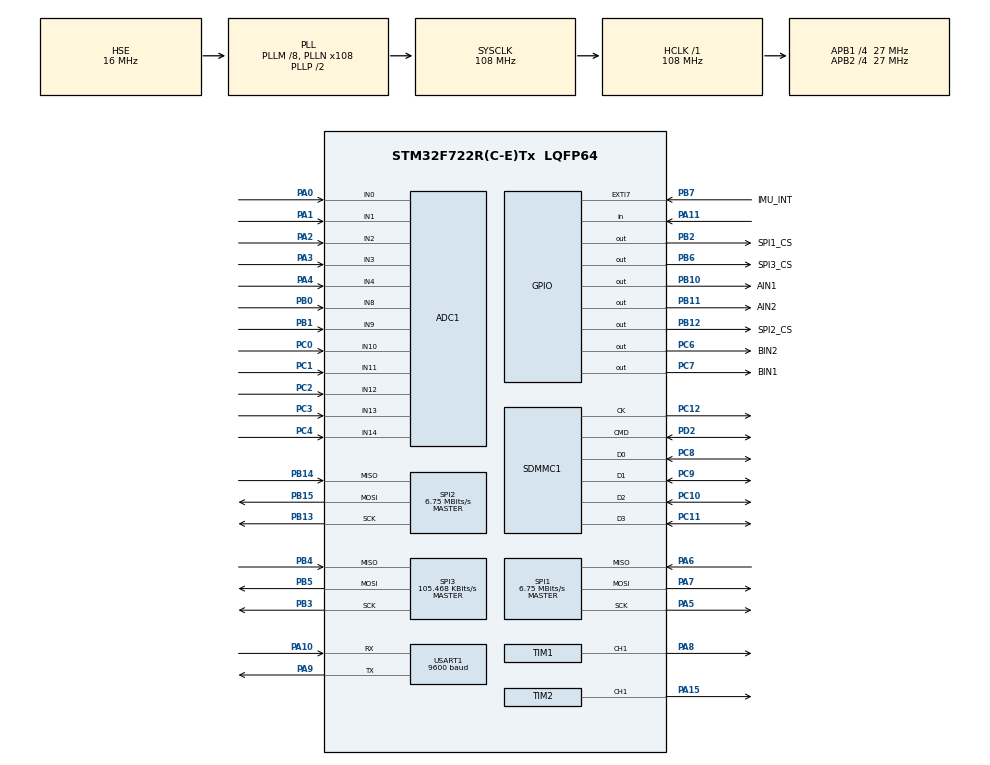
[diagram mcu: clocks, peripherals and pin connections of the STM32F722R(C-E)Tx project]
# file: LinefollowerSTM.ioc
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PH0-OSC_IN.Signal=RCC_OSC_IN
SPI3.Direction=SPI_DIRECTION_2LINES
SPI3.VirtualType=VM_MASTER
Dma.SDMMC1_RX.0.MemInc=DMA_MINC_ENABLE
SPI1.VirtualType=VM_MASTER
FATFS0.BSP.api=Unknown
SPI2.VirtualType=VM_MASTER
VP_FATFS_VS_SDIO.Mode=SDIO
ADC1.SamplingTime-6\#ChannelRegularConversion=ADC_SAMPLETIME_112CYCLES
PC12.Signal=SDMMC1_CK
PC6.GPIO_Label=BIN2
VP_RTC_VS_RTC_Activate.Mode=RTC_Enabled
PB6.GPIO_Label=SPI3_CS
PB13.Signal=SPI2_SCK
ADC1.Channel-8\#ChannelRegularConversion=ADC_CHANNEL_4
RCC.SYSCLKSource=RCC_SYSCLKSOURCE_PLLCLK
NVIC.SDMMC1_IRQn=true\:0\:0\:false\:false\:true\:true\:true
ADC1.Channel-5\#ChannelRegularConversion=ADC_CHANNEL_1
ADC1.Rank-11\#ChannelRegularConversion=12
SPI1.Direction=SPI_DIRECTION_2LINES
RCC.APB2TimFreq_Value=54000000
PB6.Signal=GPIO_Output
ADC1.Channel-2\#ChannelRegularConversion=ADC_CHANNEL_12
PC7.Signal=GPIO_Output
SPI1.CalculateBaudRate=6.75 MBits/s
PC3.Signal=ADCx_IN13
FATFS0.BSP.ip=GPIO
PB3.Mode=Full_Duplex_Master
PB2.Signal=GPIO_Output
ADC1.ScanConvMode=ADC_SCAN_ENABLE
FATFS0.BSP.i2caddr=0
PB12.GPIO_Label=SPI2_CS
Dma.ADC1.2.MemDataAlignment=DMA_MDATAALIGN_HALFWORD
TIM1.Channel-PWM\ Generation1\ CH1=TIM_CHANNEL_1
PB14.Mode=Full_Duplex_Master
SPI1.DataSize=SPI_DATASIZE_16BIT
SH.ADCx_IN8.0=ADC1_IN8,IN8
PC9.Mode=SD_4_bits_Wide_bus
SPI2.CalculateBaudRate=6.75 MBits/s
Dma.ADC1.2.Direction=DMA_PERIPH_TO_MEMORY
PA8.Signal=S_TIM1_CH1
TIM4.Period=12
ADC1.SamplingTime-0\#ChannelRegularConversion=ADC_SAMPLETIME_112CYCLES
Mcu.Package=LQFP64
RCC.SDMMCClockSelection=RCC_SDMMC1CLKSOURCE_CLK48
TIM2.Prescaler=530
PB1.Signal=ADCx_IN9
SPI2.Mode=SPI_MODE_MASTER
SPI3.Mode=SPI_MODE_MASTER
SH.ADCx_IN14.0=ADC1_IN14,IN14
FATFS0.BSP.solution=PA11
PB6.GPIO_FM6=__NULL
Dma.SDMMC1_RX.0.PeriphBurst=DMA_PBURST_INC4
PA10.Signal=USART1_RX
PC11.Mode=SD_4_bits_Wide_bus
SH.ADCx_IN9.0=ADC1_IN9,IN9
RCC.APB2CLKDivider=RCC_HCLK_DIV4
RCC.APB1TimFreq_Value=54000000
Dma.SDMMC1_TX.1.MemInc=DMA_MINC_ENABLE
TIM1.Period=999
PB13.Mode=Full_Duplex_Master
Dma.SDMMC1_RX.0.Mode=DMA_PFCTRL
NVIC.USART1_IRQn=true\:0\:0\:false\:false\:true\:true\:true
ADC1.Rank-4\#ChannelRegularConversion=5
Dma.ADC1.2.Mode=DMA_CIRCULAR
PA5.Mode=Full_Duplex_Master
Dma.SDMMC1_TX.1.Instance=DMA2_Stream6
ADC1.Channel-10\#ChannelRegularConversion=ADC_CHANNEL_8
FATFS0.BSP.STBoard=false
ADC1.Rank-0\#ChannelRegularConversion=1
Dma.SDMMC1_RX.0.PeriphInc=DMA_PINC_DISABLE
FATFS0.BSP.mode=Input
PB6.GPIO_PuPd=GPIO_PULLUP
PC6.Signal=GPIO_Output
PC2.Signal=ADCx_IN12
PB11.GPIO_Label=AIN2
SPI1.CLKPhase=SPI_PHASE_2EDGE
Dma.SDMMC1_RX.0.PeriphDataAlignment=DMA_PDATAALIGN_WORD
PC0.Signal=ADCx_IN10
RCC.APB1CLKDivider=RCC_HCLK_DIV4
PA0-WKUP.Signal=ADCx_IN0
ADC1.Channel-7\#ChannelRegularConversion=ADC_CHANNEL_3
Dma.ADC1.2.MemInc=DMA_MINC_ENABLE
PA9.Signal=USART1_TX
PB4.GPIO_PuPd=GPIO_NOPULL
NVIC.DMA2_Stream6_IRQn=true\:0\:0\:false\:false\:true\:false\:true
PB10.Signal=GPIO_Output
PB14.Signal=SPI2_MISO
FATFS.BSP.number=1
PA5.Signal=SPI1_SCK
PC12.Mode=SD_4_bits_Wide_bus
NVIC.TIM3_IRQn=true\:0\:0\:false\:false\:true\:true\:true
SPI1.Mode=SPI_MODE_MASTER
Dma.SDMMC1_RX.0.Direction=DMA_PERIPH_TO_MEMORY
SH.ADCx_IN4.0=ADC1_IN4,IN4
Dma.SDMMC1_TX.1.FIFOMode=DMA_FIFOMODE_ENABLE
ADC1.SamplingTime-10\#ChannelRegularConversion=ADC_SAMPLETIME_112CYCLES
ADC1.DMAContinuousRequests=ENABLE
TIM2.Period=999
ADC1.Rank-9\#ChannelRegularConversion=10
PA13.Mode=Serial_Wire
Dma.ADC1.2.Instance=DMA2_Stream0
PC7.GPIO_Label=BIN1
PC8.Mode=SD_4_bits_Wide_bus
ADC1.SamplingTime-1\#ChannelRegularConversion=ADC_SAMPLETIME_112CYCLES
PA4.Signal=ADCx_IN4
PB5.Signal=SPI3_MOSI
ADC1.master=1
PB5.GPIO_PuPd=GPIO_NOPULL
PB6.PinState=GPIO_PIN_RESET
ADC1.Rank-1\#ChannelRegularConversion=2
Dma.SDMMC1_TX.1.PeriphDataAlignment=DMA_PDATAALIGN_WORD
PA11.Signal=GPIO_Input
SH.S_TIM2_CH1_ETR.0=TIM2_CH1,PWM Generation1 CH1
ProjectManager.HeapSize=0x400
Dma.ADC1.2.FIFOMode=DMA_FIFOMODE_DISABLE
ADC1.SamplingTime-5\#ChannelRegularConversion=ADC_SAMPLETIME_112CYCLES
VP_TIM4_VS_ClockSourceINT.Mode=Internal
NVIC.PriorityGroup=NVIC_PRIORITYGROUP_4
SPI2.DataSize=SPI_DATASIZE_16BIT
ADC1.SamplingTime-9\#ChannelRegularConversion=ADC_SAMPLETIME_112CYCLES
PD2.Signal=SDMMC1_CMD
PB6.GPIO_Speed=GPIO_SPEED_FREQ_LOW
PB0.Signal=ADCx_IN8
ADC1.Rank-5\#ChannelRegularConversion=6
PC1.Signal=ADCx_IN11
FATFS0.BSP.name=Detect_SDIO
Mcu.Family=STM32F7
PA6.Mode=Full_Duplex_Master
RCC.CortexFreq_Value=108000000
ADC1.ContinuousConvMode=ENABLE
USART1.BaudRate=9600
SH.ADCx_IN2.0=ADC1_IN2,IN2
SPI3.NSSPMode=SPI_NSS_PULSE_DISABLE
PC10.Signal=SDMMC1_D2
Dma.SDMMC1_RX.0.Instance=DMA2_Stream3
Dma.SDMMC1_RX.0.FIFOMode=DMA_FIFOMODE_ENABLE
Dma.SDMMC1_RX.0.Priority=DMA_PRIORITY_LOW
PB11.Signal=GPIO_Output
PB15.Signal=SPI2_MOSI
ProjectManager.StackSize=0x800
Dma.SDMMC1_TX.1.FIFOThreshold=DMA_FIFO_THRESHOLD_FULL
TIM1.Prescaler=530
SPI3.CLKPolarity=SPI_POLARITY_LOW
ADC1.Channel-3\#ChannelRegularConversion=ADC_CHANNEL_13
RCC.HCLKFreq_Value=108000000
SH.ADCx_IN3.0=ADC1_IN3,IN3
TIM3.Period=66
NVIC.DMA2_Stream0_IRQn=true\:0\:0\:false\:false\:true\:false\:true
RCC.AHBFreq_Value=108000000
SPI2.BaudRatePrescaler=SPI_BAUDRATEPRESCALER_4
PH0-OSC_IN.Mode=HSE-External-Oscillator
SPI3.DataSize=SPI_DATASIZE_8BIT
ADC1.Channel-0\#ChannelRegularConversion=ADC_CHANNEL_10
RCC.HSE_VALUE=16000000
ADC1.SamplingTime-4\#ChannelRegularConversion=ADC_SAMPLETIME_112CYCLES
ADC1.Channel-6\#ChannelRegularConversion=ADC_CHANNEL_2
PA6.GPIO_PuPd=GPIO_NOPULL
ADC1.Rank-2\#ChannelRegularConversion=3
PB4.Mode=Full_Duplex_Master
PA14.Mode=Serial_Wire
TIM3.Prescaler=99
PB5.Mode=Full_Duplex_Master
PB7.Signal=GPXTI7
SH.ADCx_IN0.0=ADC1_IN0,IN0
TIM2.Channel-PWM\ Generation1\ CH1=TIM_CHANNEL_1
PB7.GPIO_Label=IMU_INT
PH1-OSC_OUT.Mode=HSE-External-Oscillator
ADC1.SamplingTime-11\#ChannelRegularConversion=ADC_SAMPLETIME_112CYCLES
PA6.Signal=SPI1_MISO
ADC1.Channel-11\#ChannelRegularConversion=ADC_CHANNEL_9
PA15.Signal=S_TIM2_CH1_ETR
SPI2.CLKPhase=SPI_PHASE_2EDGE
SH.ADCx_IN1.0=ADC1_IN1,IN1
Dma.Request2=ADC1
Dma.Request1=SDMMC1_TX
SPI2.Direction=SPI_DIRECTION_2LINES
ADC1.Rank-6\#ChannelRegularConversion=7
Dma.Request0=SDMMC1_RX
SPI1.BaudRatePrescaler=SPI_BAUDRATEPRESCALER_4
ADC1.SamplingTime-8\#ChannelRegularConversion=ADC_SAMPLETIME_112CYCLES
Dma.SDMMC1_RX.0.MemDataAlignment=DMA_MDATAALIGN_WORD
VP_TIM3_VS_ClockSourceINT.Mode=Internal
PB4.Signal=SPI3_MISO
Dma.SDMMC1_TX.1.Direction=DMA_MEMORY_TO_PERIPH
PA3.Signal=ADCx_IN3
RCC.PLLSourceVirtual=RCC_PLLSOURCE_HSE
SH.ADCx_IN13.0=ADC1_IN13,IN13
PA7.Mode=Full_Duplex_Master
ADC1.Channel-4\#ChannelRegularConversion=ADC_CHANNEL_0
PA10.Mode=Asynchronous
ADC1.Rank-10\#ChannelRegularConversion=11
ADC1.Rank-8\#ChannelRegularConversion=9
Dma.ADC1.2.PeriphDataAlignment=DMA_PDATAALIGN_HALFWORD
PC11.Signal=SDMMC1_D3
PC8.Signal=SDMMC1_D0
PC4.Signal=ADCx_IN14
PC10.Mode=SD_4_bits_Wide_bus
ADC1.SamplingTime-2\#ChannelRegularConversion=ADC_SAMPLETIME_112CYCLES
FATFS0.BSP.instance=PA11
USART1.VirtualMode-Asynchronous=VM_ASYNC
PA13.Signal=SYS_JTMS-SWDIO
PA9.Mode=Asynchronous
SH.ADCx_IN12.0=ADC1_IN12,IN12
Dma.SDMMC1_TX.1.PeriphBurst=DMA_PBURST_INC4
SH.S_TIM1_CH1.0=TIM1_CH1,PWM Generation1 CH1
ProjectManager.TargetToolchain=STM32CubeIDE
PB10.GPIO_Label=AIN1
ADC1.Channel-1\#ChannelRegularConversion=ADC_CHANNEL_11
RCC.USBFreq_Value=18000000
NVIC.DMA2_Stream3_IRQn=true\:0\:0\:false\:false\:true\:false\:true
TIM4.Prescaler=9999
RCC.LSE_VALUE=32768
PA1.Signal=ADCx_IN1
PD2.Mode=SD_4_bits_Wide_bus
board=custom
SPI3.CLKPhase=SPI_PHASE_1EDGE
RCC.VCOOutputFreq_Value=216000000
PB15.Mode=Full_Duplex_Master
FATFS.USE_DMA_CODE_SD=1
RCC.APB2Freq_Value=27000000
SPI3.CalculateBaudRate=105.468 KBits/s
SH.ADCx_IN11.0=ADC1_IN11,IN11
SPI3.BaudRatePrescaler=SPI_BAUDRATEPRESCALER_256
PH1-OSC_OUT.Signal=RCC_OSC_OUT
Dma.SDMMC1_RX.0.MemBurst=DMA_MBURST_INC4
Dma.SDMMC1_TX.1.Priority=DMA_PRIORITY_LOW
ADC1.NbrOfConversion=12
Mcu.Name=STM32F722R(C-E)Tx
PA2.Signal=ADCx_IN2
ADC1.Channel-9\#ChannelRegularConversion=ADC_CHANNEL_14
PB3.Signal=SPI3_SCK
RCC.SYSCLKFreq_VALUE=108000000
Dma.ADC1.2.Priority=DMA_PRIORITY_HIGH
Dma.SDMMC1_TX.1.MemBurst=DMA_MBURST_INC4
ADC1.Rank-3\#ChannelRegularConversion=4
ADC1.SamplingTime-3\#ChannelRegularConversion=ADC_SAMPLETIME_112CYCLES
Dma.ADC1.2.PeriphInc=DMA_PINC_DISABLE
Dma.SDMMC1_RX.0.FIFOThreshold=DMA_FIFO_THRESHOLD_FULL
NVIC.EXTI9_5_IRQn=true\:0\:0\:false\:false\:true\:true\:true
PA14.Signal=SYS_JTCK-SWCLK
PB2.GPIO_Label=SPI1_CS
SH.ADCx_IN10.0=ADC1_IN10,IN10
Dma.SDMMC1_TX.1.MemDataAlignment=DMA_MDATAALIGN_WORD
RCC.HSI_VALUE=16000000
ADC1.Rank-7\#ChannelRegularConversion=8
RCC.PLLQ=12
ADC1.NbrOfConversionFlag=1
RCC.PLLM=8
RCC.PLLN=108
PC9.Signal=SDMMC1_D1
ADC1.SamplingTime-7\#ChannelRegularConversion=ADC_SAMPLETIME_112CYCLES
NVIC.TIM4_IRQn=true\:0\:0\:false\:false\:true\:true\:true
RCC.APB1Freq_Value=27000000
Dma.SDMMC1_TX.1.Mode=DMA_PFCTRL
ADC1.ClockPrescaler=ADC_CLOCK_SYNC_PCLK_DIV8
Dma.SDMMC1_TX.1.PeriphInc=DMA_PINC_DISABLE
PB12.Signal=GPIO_Output
PA7.Signal=SPI1_MOSI

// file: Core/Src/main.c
/* USER CODE BEGIN Header */
/**
  ******************************************************************************
  * @file           : main.c
  * @brief          : Main program body
  ******************************************************************************
  * @attention
  *
  * <h2><center>&copy; Copyright (c) 2021 STMicroelectronics.
  * All rights reserved.</center></h2>
  *
  * This software component is licensed by ST under BSD 3-Clause license,
  * the "License"; You may not use this file except in compliance with the
  * License. You may obtain a copy of the License at:
  *                        opensource.org/licenses/BSD-3-Clause
  *
  ******************************************************************************
  */
/* USER CODE END Header */
#include "main.h"
#include "fatfs.h"

/* USER CODE BEGIN Includes */
#include "motors.h"
#include "uart.h"
#include "encoders.h"
#include "PID_regulators.h"
#include "imu.h"

/* USER CODE END Includes */

ADC_HandleTypeDef hadc1;
DMA_HandleTypeDef hdma_adc1;

RTC_HandleTypeDef hrtc;

SD_HandleTypeDef hsd1;
DMA_HandleTypeDef hdma_sdmmc1_rx;
DMA_HandleTypeDef hdma_sdmmc1_tx;

//SPI_HandleTypeDef hspi1;
//SPI_HandleTypeDef hspi2;
//SPI_HandleTypeDef hspi3;

//TIM_HandleTypeDef htim1;
//TIM_HandleTypeDef htim2;
//TIM_HandleTypeDef htim3;
//TIM_HandleTypeDef htim4;

//UART_HandleTypeDef huart1;

/* USER CODE BEGIN PV */
uint8_t rx1[]={0,0};
uint8_t tx1[]={0x70,0xFF};		//0xEB

/* USER CODE END PV */

void SystemClock_Config(void);
static void MX_GPIO_Init(void);
static void MX_DMA_Init(void);
static void MX_SPI1_Init(void);
static void MX_SPI2_Init(void);
static void MX_USART1_UART_Init(void);
static void MX_ADC1_Init(void);
static void MX_SPI3_Init(void);
static void MX_TIM1_Init(void);
static void MX_TIM2_Init(void);
static void MX_RTC_Init(void);
static void MX_SDMMC1_SD_Init(void);
static void MX_TIM3_Init(void);
static void MX_TIM4_Init(void);

int main(void)
{
  /* USER CODE BEGIN 1 */

	enc_langle=0;
	enc_langle_old=0;
	enc_ldiff=0;
	enc_ldiff_raw=0;
	enc_rangle=0;
	enc_rangle_old=0;
	enc_rdiff=0;
	enc_rdiff_raw=0;

	pid_k_coefficient=2.0;
	pid_Td_coefficient=1.0;
	pid_basic_velocity=250;
	pid_u_track_lost=200;
	pid_target_l=0;
	pid_target_r=0;

	pid_motor_k=0.2;
	pid_motor_Ti=950;
	pid_motor_Td=0.0;

	pid_alpha=0.001;			//0.005
	pid_beta=0.000000001;		//0.000001

	spi_error=0;
	imu_acc_data[0]=0.0;
	imu_acc_data[1]=0.0;
	imu_acc_data[2]=0.0;

	temp01=0.0;
	prev_ui_l=0.0;
	pid_lmotor_e=0.0;
	test_imu=0;
	test2_imu=0.0;
	test3_imu=0;
	test_counter=0;

  /* USER CODE END 1 */

  /* MCU Configuration--------------------------------------------------------*/

  /* Reset of all peripherals, Initializes the Flash interface and the Systick. */
  HAL_Init();

  /* Configure the system clock */
  SystemClock_Config();

  /* Initialize all configured peripherals */
  MX_GPIO_Init();
  MX_DMA_Init();
  MX_SPI1_Init();
  MX_SPI2_Init();
  MX_USART1_UART_Init();
  MX_ADC1_Init();
  MX_SPI3_Init();
  MX_TIM1_Init();
  MX_TIM2_Init();
  MX_RTC_Init();
  MX_SDMMC1_SD_Init();
  MX_FATFS_Init();
  MX_TIM3_Init();
  MX_TIM4_Init();
  /* USER CODE BEGIN 2 */
  HAL_TIM_PWM_Start(&htim1, TIM_CHANNEL_1);
  HAL_TIM_PWM_Start(&htim2, TIM_CHANNEL_1);
  //HAL_TIM_Base_Start_IT(&htim3);
  //HAL_TIM_Base_Start_IT(&htim4);
  HAL_UART_Receive_IT(&huart1, uart_received, 6);
  HAL_ADC_Start_DMA(&hadc1, ktir_array, KTIR_NUM);

  ENCWriting(&hspi1, SPI1_CS_GPIO_Port, SPI1_CS_Pin, 0x0018, 0x0005);

/*
  HAL_GPIO_WritePin(SPI3_CS_GPIO_Port, SPI3_CS_Pin, GPIO_PIN_RESET);

  	  if(HAL_SPI_Transmit(&hspi3, tx1, 2, HAL_MAX_DELAY)!=HAL_OK)
  		  spi_error=1;
  	  //if(HAL_SPI_Receive(&hspi3, rx1, 1, HAL_MAX_DELAY)!=HAL_OK)
  	  	  //spi_error=1;

  //if(HAL_SPI_TransmitReceive(&hspi3, &tx1, &rx1, 1, HAL_MAX_DELAY)!=HAL_OK)
	  //spi_error=1;

  HAL_GPIO_WritePin(SPI3_CS_GPIO_Port, SPI3_CS_Pin, GPIO_PIN_SET);
*/

  IMUConfigureModule();

  tx1[0]=0x3B|0x80;
  rx1[0]=0;
  rx1[1]=0;
  HAL_Delay(1000);
  HAL_NVIC_EnableIRQ(EXTI9_5_IRQn);

  /* USER CODE END 2 */

  /* Infinite loop */
  while (1)
  {

    /* USER CODE BEGIN 3 */
	//MOTORS_SetVelocity(0, 0);
	  /*enc_langle = (ENCReading(&hspi1, SPI1_CS_GPIO_Port, SPI1_CS_Pin, 0xFFFF)) << 2;
	  enc_rangle = (ENCReading(&hspi2, SPI2_CS_GPIO_Port, SPI2_CS_Pin, 0xFFFF)) << 2;

	  enc_ldiff = (enc_langle - enc_langle_old);
	  enc_langle_old = enc_langle;
	  enc_rdiff = (enc_rangle - enc_rangle_old);
	  enc_rangle_old = enc_rangle;*/

	  //temp01 = KTIR_ControlError();

	  //HAL_GPIO_WritePin(SPI3_CS_GPIO_Port, SPI3_CS_Pin, GPIO_PIN_RESET);

	  /*
	  if(HAL_SPI_Transmit(&hspi3, &tx, 1, HAL_MAX_DELAY)!=HAL_OK)
		  spi_error=1;
	  if(HAL_SPI_Receive(&hspi3, &rx, 1, HAL_MAX_DELAY)!=HAL_OK)
	  	  spi_error=1;
	  */

	  /*
	  if(HAL_SPI_Transmit(&hspi3, tx1, 1, HAL_MAX_DELAY)!=HAL_OK)
		  spi_error=1;
	  if(HAL_SPI_Receive(&hspi3, rx1, 1, HAL_MAX_DELAY)!=HAL_OK)
		  spi_error=1;
		  */

	  //test_imu=IMURead2BVar(0x3F);
	  test2_imu=IMUReadAcc(3);
	  IMUReadAllAccData();

	  //uart_size=sprintf(uart_data, "X axis: %4.4f \n\rY axis: %4.4f \n\rZ axis: %4.4f \n\r \n\r", imu_acc_data[0], imu_acc_data[1], imu_acc_data[2]);
	  //HAL_UART_Transmit_IT(&huart1, uart_data, uart_size);

	  //HAL_GPIO_WritePin(SPI3_CS_GPIO_Port, SPI3_CS_Pin, GPIO_PIN_SET);

	  HAL_Delay(1000);
	  uart_size=sprintf(uart_data, "Counter: %6d \n\r", test_counter);
	  HAL_UART_Transmit_IT(&huart1, uart_data, uart_size);
	  test_counter=0;

  }
  /* USER CODE END 3 */
}

void SystemClock_Config(void)
{
  RCC_OscInitTypeDef RCC_OscInitStruct = {0};
  RCC_ClkInitTypeDef RCC_ClkInitStruct = {0};
  RCC_PeriphCLKInitTypeDef PeriphClkInitStruct = {0};

  /** Configure the main internal regulator output voltage
  */
  __HAL_RCC_PWR_CLK_ENABLE();
  __HAL_PWR_VOLTAGESCALING_CONFIG(PWR_REGULATOR_VOLTAGE_SCALE3);
  /** Initializes the RCC Oscillators according to the specified parameters
  * in the RCC_OscInitTypeDef structure.
  */
  RCC_OscInitStruct.OscillatorType = RCC_OSCILLATORTYPE_LSI|RCC_OSCILLATORTYPE_HSE;
  RCC_OscInitStruct.HSEState = RCC_HSE_ON;
  RCC_OscInitStruct.LSIState = RCC_LSI_ON;
  RCC_OscInitStruct.PLL.PLLState = RCC_PLL_ON;
  RCC_OscInitStruct.PLL.PLLSource = RCC_PLLSOURCE_HSE;
  RCC_OscInitStruct.PLL.PLLM = 8;
  RCC_OscInitStruct.PLL.PLLN = 108;
  RCC_OscInitStruct.PLL.PLLP = RCC_PLLP_DIV2;
  RCC_OscInitStruct.PLL.PLLQ = 12;
  if (HAL_RCC_OscConfig(&RCC_OscInitStruct) != HAL_OK)
  {
    Error_Handler();
  }
  /** Initializes the CPU, AHB and APB buses clocks
  */
  RCC_ClkInitStruct.ClockType = RCC_CLOCKTYPE_HCLK|RCC_CLOCKTYPE_SYSCLK
                              |RCC_CLOCKTYPE_PCLK1|RCC_CLOCKTYPE_PCLK2;
  RCC_ClkInitStruct.SYSCLKSource = RCC_SYSCLKSOURCE_PLLCLK;
  RCC_ClkInitStruct.AHBCLKDivider = RCC_SYSCLK_DIV1;
  RCC_ClkInitStruct.APB1CLKDivider = RCC_HCLK_DIV4;
  RCC_ClkInitStruct.APB2CLKDivider = RCC_HCLK_DIV4;

  if (HAL_RCC_ClockConfig(&RCC_ClkInitStruct, FLASH_LATENCY_3) != HAL_OK)
  {
    Error_Handler();
  }
  PeriphClkInitStruct.PeriphClockSelection = RCC_PERIPHCLK_RTC|RCC_PERIPHCLK_USART1
                              |RCC_PERIPHCLK_SDMMC1|RCC_PERIPHCLK_CLK48;
  PeriphClkInitStruct.RTCClockSelection = RCC_RTCCLKSOURCE_LSI;
  PeriphClkInitStruct.Usart1ClockSelection = RCC_USART1CLKSOURCE_PCLK2;
  PeriphClkInitStruct.Clk48ClockSelection = RCC_CLK48SOURCE_PLL;
  PeriphClkInitStruct.Sdmmc1ClockSelection = RCC_SDMMC1CLKSOURCE_CLK48;
  if (HAL_RCCEx_PeriphCLKConfig(&PeriphClkInitStruct) != HAL_OK)
  {
    Error_Handler();
  }
}

static void MX_ADC1_Init(void)
{

  ADC_ChannelConfTypeDef sConfig = {0};

  /** Configure the global features of the ADC (Clock, Resolution, Data Alignment and number of conversion)
  */
  hadc1.Instance = ADC1;
  hadc1.Init.ClockPrescaler = ADC_CLOCK_SYNC_PCLK_DIV8;
  hadc1.Init.Resolution = ADC_RESOLUTION_12B;
  hadc1.Init.ScanConvMode = ADC_SCAN_ENABLE;
  hadc1.Init.ContinuousConvMode = ENABLE;
  hadc1.Init.DiscontinuousConvMode = DISABLE;
  hadc1.Init.ExternalTrigConvEdge = ADC_EXTERNALTRIGCONVEDGE_NONE;
  hadc1.Init.ExternalTrigConv = ADC_SOFTWARE_START;
  hadc1.Init.DataAlign = ADC_DATAALIGN_RIGHT;
  hadc1.Init.NbrOfConversion = 12;
  hadc1.Init.DMAContinuousRequests = ENABLE;
  hadc1.Init.EOCSelection = ADC_EOC_SINGLE_CONV;
  if (HAL_ADC_Init(&hadc1) != HAL_OK)
  {
    Error_Handler();
  }
  /** Configure for the selected ADC regular channel its corresponding rank in the sequencer and its sample time.
  */
  sConfig.Channel = ADC_CHANNEL_10;
  sConfig.Rank = ADC_REGULAR_RANK_1;
  sConfig.SamplingTime = ADC_SAMPLETIME_112CYCLES;
  if (HAL_ADC_ConfigChannel(&hadc1, &sConfig) != HAL_OK)
  {
    Error_Handler();
  }
  /** Configure for the selected ADC regular channel its corresponding rank in the sequencer and its sample time.
  */
  sConfig.Channel = ADC_CHANNEL_11;
  sConfig.Rank = ADC_REGULAR_RANK_2;
  if (HAL_ADC_ConfigChannel(&hadc1, &sConfig) != HAL_OK)
  {
    Error_Handler();
  }
  /** Configure for the selected ADC regular channel its corresponding rank in the sequencer and its sample time.
  */
  sConfig.Channel = ADC_CHANNEL_12;
  sConfig.Rank = ADC_REGULAR_RANK_3;
  if (HAL_ADC_ConfigChannel(&hadc1, &sConfig) != HAL_OK)
  {
    Error_Handler();
  }
  /** Configure for the selected ADC regular channel its corresponding rank in the sequencer and its sample time.
  */
  sConfig.Channel = ADC_CHANNEL_13;
  sConfig.Rank = ADC_REGULAR_RANK_4;
  if (HAL_ADC_ConfigChannel(&hadc1, &sConfig) != HAL_OK)
  {
    Error_Handler();
  }
  /** Configure for the selected ADC regular channel its corresponding rank in the sequencer and its sample time.
  */
  sConfig.Channel = ADC_CHANNEL_0;
  sConfig.Rank = ADC_REGULAR_RANK_5;
  if (HAL_ADC_ConfigChannel(&hadc1, &sConfig) != HAL_OK)
  {
    Error_Handler();
  }
  /** Configure for the selected ADC regular channel its corresponding rank in the sequencer and its sample time.
  */
  sConfig.Channel = ADC_CHANNEL_1;
  sConfig.Rank = ADC_REGULAR_RANK_6;
  if (HAL_ADC_ConfigChannel(&hadc1, &sConfig) != HAL_OK)
  {
    Error_Handler();
  }
  /** Configure for the selected ADC regular channel its corresponding rank in the sequencer and its sample time.
  */
  sConfig.Channel = ADC_CHANNEL_2;
  sConfig.Rank = ADC_REGULAR_RANK_7;
  if (HAL_ADC_ConfigChannel(&hadc1, &sConfig) != HAL_OK)
  {
    Error_Handler();
  }
  /** Configure for the selected ADC regular channel its corresponding rank in the sequencer and its sample time.
  */
  sConfig.Channel = ADC_CHANNEL_3;
  sConfig.Rank = ADC_REGULAR_RANK_8;
  if (HAL_ADC_ConfigChannel(&hadc1, &sConfig) != HAL_OK)
  {
    Error_Handler();
  }
  /** Configure for the selected ADC regular channel its corresponding rank in the sequencer and its sample time.
  */
  sConfig.Channel = ADC_CHANNEL_4;
  sConfig.Rank = ADC_REGULAR_RANK_9;
  if (HAL_ADC_ConfigChannel(&hadc1, &sConfig) != HAL_OK)
  {
    Error_Handler();
  }
  /** Configure for the selected ADC regular channel its corresponding rank in the sequencer and its sample time.
  */
  sConfig.Channel = ADC_CHANNEL_14;
  sConfig.Rank = ADC_REGULAR_RANK_10;
  if (HAL_ADC_ConfigChannel(&hadc1, &sConfig) != HAL_OK)
  {
    Error_Handler();
  }
  /** Configure for the selected ADC regular channel its corresponding rank in the sequencer and its sample time.
  */
  sConfig.Channel = ADC_CHANNEL_8;
  sConfig.Rank = ADC_REGULAR_RANK_11;
  if (HAL_ADC_ConfigChannel(&hadc1, &sConfig) != HAL_OK)
  {
    Error_Handler();
  }
  /** Configure for the selected ADC regular channel its corresponding rank in the sequencer and its sample time.
  */
  sConfig.Channel = ADC_CHANNEL_9;
  sConfig.Rank = ADC_REGULAR_RANK_12;
  if (HAL_ADC_ConfigChannel(&hadc1, &sConfig) != HAL_OK)
  {
    Error_Handler();
  }

}

static void MX_RTC_Init(void)
{

  /** Initialize RTC Only
  */
  hrtc.Instance = RTC;
  hrtc.Init.HourFormat = RTC_HOURFORMAT_24;
  hrtc.Init.AsynchPrediv = 127;
  hrtc.Init.SynchPrediv = 255;
  hrtc.Init.OutPut = RTC_OUTPUT_DISABLE;
  hrtc.Init.OutPutPolarity = RTC_OUTPUT_POLARITY_HIGH;
  hrtc.Init.OutPutType = RTC_OUTPUT_TYPE_OPENDRAIN;
  if (HAL_RTC_Init(&hrtc) != HAL_OK)
  {
    Error_Handler();
  }

}

static void MX_SDMMC1_SD_Init(void)
{

  hsd1.Instance = SDMMC1;
  hsd1.Init.ClockEdge = SDMMC_CLOCK_EDGE_RISING;
  hsd1.Init.ClockBypass = SDMMC_CLOCK_BYPASS_DISABLE;
  hsd1.Init.ClockPowerSave = SDMMC_CLOCK_POWER_SAVE_DISABLE;
  hsd1.Init.BusWide = SDMMC_BUS_WIDE_1B;
  hsd1.Init.HardwareFlowControl = SDMMC_HARDWARE_FLOW_CONTROL_DISABLE;
  hsd1.Init.ClockDiv = 0;

}

static void MX_SPI1_Init(void)
{

  /* SPI1 parameter configuration*/
  hspi1.Instance = SPI1;
  hspi1.Init.Mode = SPI_MODE_MASTER;
  hspi1.Init.Direction = SPI_DIRECTION_2LINES;
  hspi1.Init.DataSize = SPI_DATASIZE_16BIT;
  hspi1.Init.CLKPolarity = SPI_POLARITY_LOW;
  hspi1.Init.CLKPhase = SPI_PHASE_2EDGE;
  hspi1.Init.NSS = SPI_NSS_SOFT;
  hspi1.Init.BaudRatePrescaler = SPI_BAUDRATEPRESCALER_4;
  hspi1.Init.FirstBit = SPI_FIRSTBIT_MSB;
  hspi1.Init.TIMode = SPI_TIMODE_DISABLE;
  hspi1.Init.CRCCalculation = SPI_CRCCALCULATION_DISABLE;
  hspi1.Init.CRCPolynomial = 7;
  hspi1.Init.CRCLength = SPI_CRC_LENGTH_DATASIZE;
  hspi1.Init.NSSPMode = SPI_NSS_PULSE_DISABLE;
  if (HAL_SPI_Init(&hspi1) != HAL_OK)
  {
    Error_Handler();
  }

}

static void MX_SPI2_Init(void)
{

  /* SPI2 parameter configuration*/
  hspi2.Instance = SPI2;
  hspi2.Init.Mode = SPI_MODE_MASTER;
  hspi2.Init.Direction = SPI_DIRECTION_2LINES;
  hspi2.Init.DataSize = SPI_DATASIZE_16BIT;
  hspi2.Init.CLKPolarity = SPI_POLARITY_LOW;
  hspi2.Init.CLKPhase = SPI_PHASE_2EDGE;
  hspi2.Init.NSS = SPI_NSS_SOFT;
  hspi2.Init.BaudRatePrescaler = SPI_BAUDRATEPRESCALER_4;
  hspi2.Init.FirstBit = SPI_FIRSTBIT_MSB;
  hspi2.Init.TIMode = SPI_TIMODE_DISABLE;
  hspi2.Init.CRCCalculation = SPI_CRCCALCULATION_DISABLE;
  hspi2.Init.CRCPolynomial = 7;
  hspi2.Init.CRCLength = SPI_CRC_LENGTH_DATASIZE;
  hspi2.Init.NSSPMode = SPI_NSS_PULSE_DISABLE;
  if (HAL_SPI_Init(&hspi2) != HAL_OK)
  {
    Error_Handler();
  }

}

static void MX_SPI3_Init(void)
{

  /* SPI3 parameter configuration*/
  hspi3.Instance = SPI3;
  hspi3.Init.Mode = SPI_MODE_MASTER;
  hspi3.Init.Direction = SPI_DIRECTION_2LINES;
  hspi3.Init.DataSize = SPI_DATASIZE_8BIT;
  hspi3.Init.CLKPolarity = SPI_POLARITY_LOW;
  hspi3.Init.CLKPhase = SPI_PHASE_1EDGE;
  hspi3.Init.NSS = SPI_NSS_SOFT;
  hspi3.Init.BaudRatePrescaler = SPI_BAUDRATEPRESCALER_256;
  hspi3.Init.FirstBit = SPI_FIRSTBIT_MSB;
  hspi3.Init.TIMode = SPI_TIMODE_DISABLE;
  hspi3.Init.CRCCalculation = SPI_CRCCALCULATION_DISABLE;
  hspi3.Init.CRCPolynomial = 7;
  hspi3.Init.CRCLength = SPI_CRC_LENGTH_DATASIZE;
  hspi3.Init.NSSPMode = SPI_NSS_PULSE_DISABLE;
  if (HAL_SPI_Init(&hspi3) != HAL_OK)
  {
    Error_Handler();
  }

}

static void MX_TIM1_Init(void)
{

  TIM_MasterConfigTypeDef sMasterConfig = {0};
  TIM_OC_InitTypeDef sConfigOC = {0};
  TIM_BreakDeadTimeConfigTypeDef sBreakDeadTimeConfig = {0};

  htim1.Instance = TIM1;
  htim1.Init.Prescaler = 530;
  htim1.Init.CounterMode = TIM_COUNTERMODE_UP;
  htim1.Init.Period = 999;
  htim1.Init.ClockDivision = TIM_CLOCKDIVISION_DIV1;
  htim1.Init.RepetitionCounter = 0;
  htim1.Init.AutoReloadPreload = TIM_AUTORELOAD_PRELOAD_DISABLE;
  if (HAL_TIM_PWM_Init(&htim1) != HAL_OK)
  {
    Error_Handler();
  }
  sMasterConfig.MasterOutputTrigger = TIM_TRGO_RESET;
  sMasterConfig.MasterOutputTrigger2 = TIM_TRGO2_RESET;
  sMasterConfig.MasterSlaveMode = TIM_MASTERSLAVEMODE_DISABLE;
  if (HAL_TIMEx_MasterConfigSynchronization(&htim1, &sMasterConfig) != HAL_OK)
  {
    Error_Handler();
  }
  sConfigOC.OCMode = TIM_OCMODE_PWM1;
  sConfigOC.Pulse = 0;
  sConfigOC.OCPolarity = TIM_OCPOLARITY_HIGH;
  sConfigOC.OCNPolarity = TIM_OCNPOLARITY_HIGH;
  sConfigOC.OCFastMode = TIM_OCFAST_DISABLE;
  sConfigOC.OCIdleState = TIM_OCIDLESTATE_RESET;
  sConfigOC.OCNIdleState = TIM_OCNIDLESTATE_RESET;
  if (HAL_TIM_PWM_ConfigChannel(&htim1, &sConfigOC, TIM_CHANNEL_1) != HAL_OK)
  {
    Error_Handler();
  }
  sBreakDeadTimeConfig.OffStateRunMode = TIM_OSSR_DISABLE;
  sBreakDeadTimeConfig.OffStateIDLEMode = TIM_OSSI_DISABLE;
  sBreakDeadTimeConfig.LockLevel = TIM_LOCKLEVEL_OFF;
  sBreakDeadTimeConfig.DeadTime = 0;
  sBreakDeadTimeConfig.BreakState = TIM_BREAK_DISABLE;
  sBreakDeadTimeConfig.BreakPolarity = TIM_BREAKPOLARITY_HIGH;
  sBreakDeadTimeConfig.BreakFilter = 0;
  sBreakDeadTimeConfig.Break2State = TIM_BREAK2_DISABLE;
  sBreakDeadTimeConfig.Break2Polarity = TIM_BREAK2POLARITY_HIGH;
  sBreakDeadTimeConfig.Break2Filter = 0;
  sBreakDeadTimeConfig.AutomaticOutput = TIM_AUTOMATICOUTPUT_DISABLE;
  if (HAL_TIMEx_ConfigBreakDeadTime(&htim1, &sBreakDeadTimeConfig) != HAL_OK)
  {
    Error_Handler();
  }
  HAL_TIM_MspPostInit(&htim1);

}

static void MX_TIM2_Init(void)
{

  TIM_MasterConfigTypeDef sMasterConfig = {0};
  TIM_OC_InitTypeDef sConfigOC = {0};

  htim2.Instance = TIM2;
  htim2.Init.Prescaler = 530;
  htim2.Init.CounterMode = TIM_COUNTERMODE_UP;
  htim2.Init.Period = 999;
  htim2.Init.ClockDivision = TIM_CLOCKDIVISION_DIV1;
  htim2.Init.AutoReloadPreload = TIM_AUTORELOAD_PRELOAD_DISABLE;
  if (HAL_TIM_PWM_Init(&htim2) != HAL_OK)
  {
    Error_Handler();
  }
  sMasterConfig.MasterOutputTrigger = TIM_TRGO_RESET;
  sMasterConfig.MasterSlaveMode = TIM_MASTERSLAVEMODE_DISABLE;
  if (HAL_TIMEx_MasterConfigSynchronization(&htim2, &sMasterConfig) != HAL_OK)
  {
    Error_Handler();
  }
  sConfigOC.OCMode = TIM_OCMODE_PWM1;
  sConfigOC.Pulse = 0;
  sConfigOC.OCPolarity = TIM_OCPOLARITY_HIGH;
  sConfigOC.OCFastMode = TIM_OCFAST_DISABLE;
  if (HAL_TIM_PWM_ConfigChannel(&htim2, &sConfigOC, TIM_CHANNEL_1) != HAL_OK)
  {
    Error_Handler();
  }
  HAL_TIM_MspPostInit(&htim2);

}

static void MX_TIM3_Init(void)
{

  TIM_ClockConfigTypeDef sClockSourceConfig = {0};
  TIM_MasterConfigTypeDef sMasterConfig = {0};

  htim3.Instance = TIM3;
  htim3.Init.Prescaler = 99;
  htim3.Init.CounterMode = TIM_COUNTERMODE_UP;
  htim3.Init.Period = 66;
  htim3.Init.ClockDivision = TIM_CLOCKDIVISION_DIV1;
  htim3.Init.AutoReloadPreload = TIM_AUTORELOAD_PRELOAD_DISABLE;
  if (HAL_TIM_Base_Init(&htim3) != HAL_OK)
  {
    Error_Handler();
  }
  sClockSourceConfig.ClockSource = TIM_CLOCKSOURCE_INTERNAL;
  if (HAL_TIM_ConfigClockSource(&htim3, &sClockSourceConfig) != HAL_OK)
  {
    Error_Handler();
  }
  sMasterConfig.MasterOutputTrigger = TIM_TRGO_RESET;
  sMasterConfig.MasterSlaveMode = TIM_MASTERSLAVEMODE_DISABLE;
  if (HAL_TIMEx_MasterConfigSynchronization(&htim3, &sMasterConfig) != HAL_OK)
  {
    Error_Handler();
  }

}

static void MX_TIM4_Init(void)
{

  TIM_ClockConfigTypeDef sClockSourceConfig = {0};
  TIM_MasterConfigTypeDef sMasterConfig = {0};

  htim4.Instance = TIM4;
  htim4.Init.Prescaler = 9999;
  htim4.Init.CounterMode = TIM_COUNTERMODE_UP;
  htim4.Init.Period = 12;
  htim4.Init.ClockDivision = TIM_CLOCKDIVISION_DIV1;
  htim4.Init.AutoReloadPreload = TIM_AUTORELOAD_PRELOAD_DISABLE;
  if (HAL_TIM_Base_Init(&htim4) != HAL_OK)
  {
    Error_Handler();
  }
  sClockSourceConfig.ClockSource = TIM_CLOCKSOURCE_INTERNAL;
  if (HAL_TIM_ConfigClockSource(&htim4, &sClockSourceConfig) != HAL_OK)
  {
    Error_Handler();
  }
  sMasterConfig.MasterOutputTrigger = TIM_TRGO_RESET;
  sMasterConfig.MasterSlaveMode = TIM_MASTERSLAVEMODE_DISABLE;
  if (HAL_TIMEx_MasterConfigSynchronization(&htim4, &sMasterConfig) != HAL_OK)
  {
    Error_Handler();
  }

}

static void MX_USART1_UART_Init(void)
{

  huart1.Instance = USART1;
  huart1.Init.BaudRate = 9600;
  huart1.Init.WordLength = UART_WORDLENGTH_8B;
  huart1.Init.StopBits = UART_STOPBITS_1;
  huart1.Init.Parity = UART_PARITY_NONE;
  huart1.Init.Mode = UART_MODE_TX_RX;
  huart1.Init.HwFlowCtl = UART_HWCONTROL_NONE;
  huart1.Init.OverSampling = UART_OVERSAMPLING_16;
  huart1.Init.OneBitSampling = UART_ONE_BIT_SAMPLE_DISABLE;
  huart1.AdvancedInit.AdvFeatureInit = UART_ADVFEATURE_NO_INIT;
  if (HAL_UART_Init(&huart1) != HAL_OK)
  {
    Error_Handler();
  }

}

static void MX_DMA_Init(void)
{

  /* DMA controller clock enable */
  __HAL_RCC_DMA2_CLK_ENABLE();

  /* DMA interrupt init */
  /* DMA2_Stream0_IRQn interrupt configuration */
  HAL_NVIC_SetPriority(DMA2_Stream0_IRQn, 0, 0);
  HAL_NVIC_EnableIRQ(DMA2_Stream0_IRQn);
  /* DMA2_Stream3_IRQn interrupt configuration */
  HAL_NVIC_SetPriority(DMA2_Stream3_IRQn, 0, 0);
  HAL_NVIC_EnableIRQ(DMA2_Stream3_IRQn);
  /* DMA2_Stream6_IRQn interrupt configuration */
  HAL_NVIC_SetPriority(DMA2_Stream6_IRQn, 0, 0);
  HAL_NVIC_EnableIRQ(DMA2_Stream6_IRQn);

}

static void MX_GPIO_Init(void)
{
  GPIO_InitTypeDef GPIO_InitStruct = {0};

  /* GPIO Ports Clock Enable */
  __HAL_RCC_GPIOH_CLK_ENABLE();
  __HAL_RCC_GPIOC_CLK_ENABLE();
  __HAL_RCC_GPIOA_CLK_ENABLE();
  __HAL_RCC_GPIOB_CLK_ENABLE();
  __HAL_RCC_GPIOD_CLK_ENABLE();

  /*Configure GPIO pin Output Level */
  HAL_GPIO_WritePin(GPIOB, SPI1_CS_Pin|AIN1_Pin|AIN2_Pin|SPI2_CS_Pin
                          |SPI3_CS_Pin, GPIO_PIN_RESET);

  /*Configure GPIO pin Output Level */
  HAL_GPIO_WritePin(GPIOC, BIN2_Pin|BIN1_Pin, GPIO_PIN_RESET);

  /*Configure GPIO pins : SPI1_CS_Pin AIN1_Pin AIN2_Pin SPI2_CS_Pin */
  GPIO_InitStruct.Pin = SPI1_CS_Pin|AIN1_Pin|AIN2_Pin|SPI2_CS_Pin;
  GPIO_InitStruct.Mode = GPIO_MODE_OUTPUT_PP;
  GPIO_InitStruct.Pull = GPIO_NOPULL;
  GPIO_InitStruct.Speed = GPIO_SPEED_FREQ_LOW;
  HAL_GPIO_Init(GPIOB, &GPIO_InitStruct);

  /*Configure GPIO pins : BIN2_Pin BIN1_Pin */
  GPIO_InitStruct.Pin = BIN2_Pin|BIN1_Pin;
  GPIO_InitStruct.Mode = GPIO_MODE_OUTPUT_PP;
  GPIO_InitStruct.Pull = GPIO_NOPULL;
  GPIO_InitStruct.Speed = GPIO_SPEED_FREQ_LOW;
  HAL_GPIO_Init(GPIOC, &GPIO_InitStruct);

  /*Configure GPIO pin : PA11 */
  GPIO_InitStruct.Pin = GPIO_PIN_11;
  GPIO_InitStruct.Mode = GPIO_MODE_INPUT;
  GPIO_InitStruct.Pull = GPIO_NOPULL;
  HAL_GPIO_Init(GPIOA, &GPIO_InitStruct);

  /*Configure GPIO pin : SPI3_CS_Pin */
  GPIO_InitStruct.Pin = SPI3_CS_Pin;
  GPIO_InitStruct.Mode = GPIO_MODE_OUTPUT_PP;
  GPIO_InitStruct.Pull = GPIO_PULLUP;
  GPIO_InitStruct.Speed = GPIO_SPEED_FREQ_LOW;
  HAL_GPIO_Init(SPI3_CS_GPIO_Port, &GPIO_InitStruct);

  /*Configure GPIO pin : IMU_INT_Pin */
  GPIO_InitStruct.Pin = IMU_INT_Pin;
  GPIO_InitStruct.Mode = GPIO_MODE_IT_RISING;
  GPIO_InitStruct.Pull = GPIO_PULLDOWN;
  HAL_GPIO_Init(IMU_INT_GPIO_Port, &GPIO_InitStruct);

  /* EXTI interrupt init*/
  HAL_NVIC_SetPriority(EXTI9_5_IRQn, 0, 0);
  //HAL_NVIC_EnableIRQ(EXTI9_5_IRQn);

}

void Error_Handler(void)
{
  __disable_irq();
  while (1)
  {
  }
}

/************************ (C) COPYRIGHT STMicroelectronics *****END OF FILE****/
